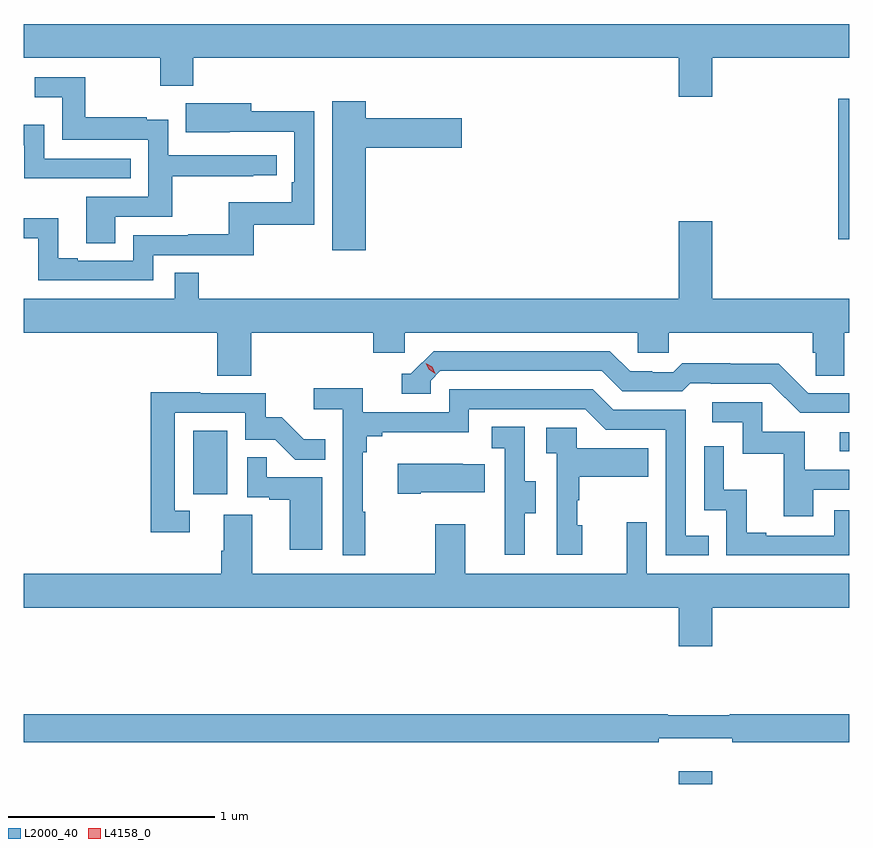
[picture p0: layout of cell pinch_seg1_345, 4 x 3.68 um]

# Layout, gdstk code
import gdstk
lib = gdstk.Library(unit=1e-6, precision=1e-09)
def R(c, l, rs):  # rectangles x0, y0, x1, y1
    for r in rs: c.add(gdstk.rectangle(r[:2], r[2:], *l))
def P(c, l, *ps):  # polygons
    for p in ps: c.add(gdstk.Polygon(p, *l))
L2000_40 = (2000, 40)
L4158_0 = (4158, 0)

pinch_seg1_345 = lib.new_cell('pinch_seg1_345')
R(pinch_seg1_345, L2000_40, [(956.216,546.881,956.38,546.943), (953.864,548.286,954.028,548.593), (956.997,548.493,957.043,548.586), (956.989,549.52,957.043,550.201)])
P(pinch_seg1_345, L2000_40, [(956.38,550.4),(957.043,550.4),(957.043,550.564),(953.043,550.564),(953.043,550.4),(953.704,550.4),(953.704,550.265),(953.864,550.265),(953.864,550.4),(956.216,550.4),(956.216,550.212),(956.38,550.212)],
  [(953.485,549.63),(953.762,549.63),(953.762,549.826),(954.155,549.826),(954.155,549.831),(954.268,549.831),(954.268,549.927),(953.742,549.927),(953.742,550.099),(953.639,550.099),(953.639,550.111),(953.341,550.111),(953.341,550.305),(953.095,550.305),(953.095,550.208),(953.23,550.208),(953.23,550.002),(953.646,550.002),(953.646,549.726),(953.345,549.726),(953.345,549.502),(953.485,549.502)],
  [(954.7,549.965),(955.165,549.965),(955.165,550.107),(954.7,550.107),(954.7,550.189),(954.539,550.189),(954.539,549.468),(954.7,549.468)],
  [(953.67,549.444),(954.157,549.444),(954.157,549.591),(954.45,549.591),(954.45,550.142),(954.145,550.142),(954.145,550.18),(953.827,550.18),(953.827,550.04),(954.041,550.04),(954.041,550.041),(954.354,550.041),(954.354,549.796),(954.341,549.796),(954.341,549.7),(954.036,549.7),(954.036,549.545),(953.839,549.545),(953.839,549.54),(953.574,549.54),(953.574,549.417),(953.305,549.417),(953.305,549.43),(953.209,549.43),(953.209,549.623),(953.043,549.623),(953.043,549.525),(953.112,549.525),(953.112,549.321),(953.67,549.321)],
  [(953.561,549.912),(953.142,549.912),(953.142,550.075),(953.043,550.075),(953.043,549.977),(953.046,549.977),(953.046,549.816),(953.561,549.816)],
  [(954.146,549.068),(954.737,549.068),(954.737,548.97),(954.888,548.97),(954.888,549.068),(956.019,549.068),(956.019,548.97),(956.169,548.97),(956.169,549.068),(956.867,549.068),(956.867,548.97),(956.881,548.97),(956.881,548.86),(957.018,548.86),(957.018,549.068),(957.043,549.068),(957.043,549.232),(956.38,549.232),(956.38,549.607),(956.216,549.607),(956.216,549.232),(953.891,549.232),(953.891,549.359),(953.775,549.359),(953.775,549.232),(953.043,549.232),(953.043,549.068),(953.981,549.068),(953.981,548.86),(954.146,548.86)],
  [(957.043,548.775),(956.844,548.775),(956.702,548.917),(956.466,548.917),(956.466,548.92),(956.233,548.92),(956.191,548.877),(956.088,548.877),(956.088,548.88),(955.981,548.88),(955.882,548.979),(955.029,548.979),(954.918,548.868),(954.875,548.868),(954.875,548.772),(955.014,548.772),(955.014,548.835),(955.062,548.883),(955.845,548.883),(955.944,548.784),(956.233,548.784),(956.272,548.823),(956.371,548.823),(956.371,548.82),(956.664,548.82),(956.805,548.679),(957.043,548.679)],
  [(954.697,548.201),(954.685,548.201),(954.685,548.489),(954.704,548.489),(954.704,548.566),(954.781,548.566),(954.781,548.585),(955.2,548.585),(955.2,548.697),(955.764,548.697),(955.863,548.598),(956.154,548.598),(956.154,547.989),(956.363,547.989),(956.363,548.085),(956.25,548.085),(956.25,548.694),(955.9,548.694),(955.801,548.793),(955.104,548.793),(955.104,548.682),(954.686,548.682),(954.686,548.798),(954.447,548.798),(954.447,548.696),(954.588,548.696),(954.588,547.989),(954.697,547.989)],
  [(953.848,548.205),(953.775,548.205),(953.775,548.679),(954.117,548.679),(954.117,548.55),(954.261,548.55),(954.359,548.452),(954.503,548.452),(954.503,548.551),(954.399,548.551),(954.292,548.658),(954.216,548.658),(954.216,548.775),(953.897,548.775),(953.897,548.78),(953.659,548.78),(953.659,548.1),(953.848,548.1)],
  [(956.869,548.307),(957.043,548.307),(957.043,548.403),(956.827,548.403),(956.827,548.589),(956.622,548.589),(956.622,548.73),(956.379,548.73),(956.379,548.634),(956.526,548.634),(956.526,548.481),(956.725,548.481),(956.725,548.178),(956.869,548.178)],
  [(955.471,548.194),(955.525,548.194),(955.525,548.349),(955.47,548.349),(955.47,548.612),(955.311,548.612),(955.311,548.509),(955.374,548.509),(955.374,548.205),(955.373,548.205),(955.373,547.992),(955.471,547.992)],
  [(955.75,548.136),(955.725,548.136),(955.725,548.255),(955.735,548.255),(955.735,548.369),(956.069,548.369),(956.069,548.509),(955.722,548.509),(955.722,548.607),(955.575,548.607),(955.575,548.483),(955.626,548.483),(955.626,547.992),(955.75,547.992)],
  [(957.043,548.208),(956.97,548.208),(956.97,548.085),(956.641,548.085),(956.641,548.098),(956.546,548.098),(956.546,548.306),(956.436,548.306),(956.436,548.518),(956.34,548.518),(956.34,548.208),(956.448,548.208),(956.448,547.989),(957.043,547.989)],
  [(954.49,548.367),(954.221,548.367),(954.221,548.465),(954.126,548.465),(954.126,548.271),(954.233,548.271),(954.233,548.259),(954.332,548.259),(954.332,548.016),(954.49,548.016)],
  [(954.967,548.294),(955.277,548.294),(955.277,548.431),(955.169,548.431),(955.169,548.434),(954.855,548.434),(954.855,548.287),(954.967,548.287)],
  [(956.216,547.548),(956.38,547.548),(956.38,547.736),(957.043,547.736),(957.043,547.9),(956.061,547.9),(956.061,548.149),(955.964,548.149),(955.964,547.9),(955.183,547.9),(955.183,548.14),(955.036,548.14),(955.036,547.9),(954.151,547.9),(954.151,548.186),(954.011,548.186),(954.011,548.012),(953.999,548.012),(953.999,547.9),(953.043,547.9),(953.043,547.736),(956.216,547.736)],
  [(956.12,547.103),(956.476,547.103),(956.476,547.084),(957.043,547.084),(957.043,547.22),(956.464,547.22),(956.464,547.213),(956.164,547.213),(956.164,547.22),(953.043,547.22),(953.043,547.084),(956.12,547.084)])
P(pinch_seg1_345, L4158_0, [(955.038,548.87),(955.007,548.889),(954.991,548.921),(954.991,548.921),(954.991,548.921),(955.022,548.902),(955.038,548.87),(955.038,548.87)])

lib.write_gds('pinch_seg1_345.gds')
